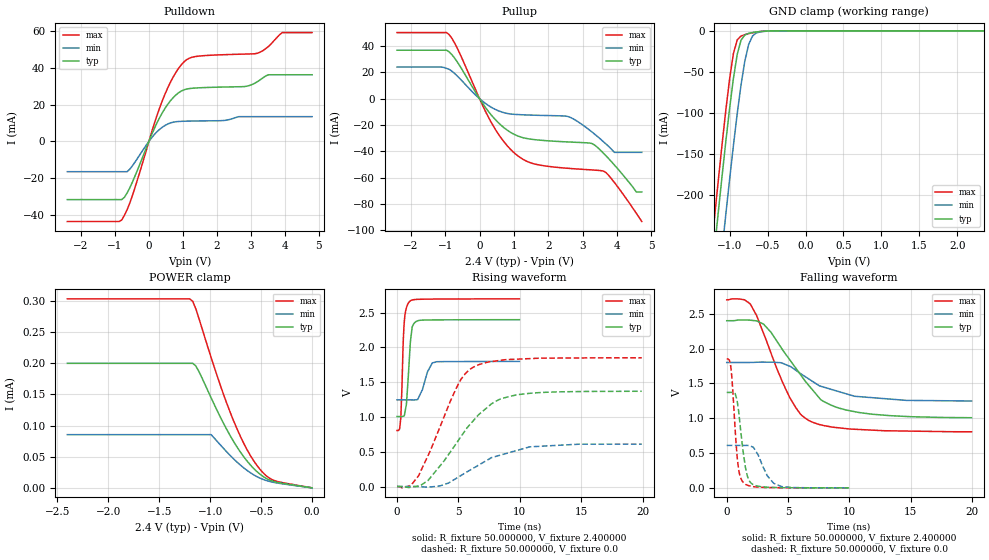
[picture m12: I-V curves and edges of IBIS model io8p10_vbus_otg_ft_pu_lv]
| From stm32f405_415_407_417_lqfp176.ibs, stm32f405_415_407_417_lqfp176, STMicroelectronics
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|   Model io8p10_vbus_otg_ft_pu_lv
[Model]  io8p10_vbus_otg_ft_pu_lv
Model_type I/O
Polarity   Non-Inverting
Enable   Active-Low
Vinl =   0.720000V
Vinh =   1.680000V
Vmeas =  1.200000V
Cref =   40.000000pF
Rref =   100.000000M
Vref =   0.0V
C_comp   3.193600pF   3.100000pF   3.332100pF
[Temperature Range]   25.000000   0.125000k   -40.000000
[Pullup Reference]   2.400000V   1.800000V   2.700000V
[Pulldown Reference]   0.0V   0.0V   0.0V
[POWER Clamp Reference]   2.400000V   1.800000V   2.700000V
[GND Clamp Reference]   0.0V   0.0V   0.0V
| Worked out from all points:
|   slope of the pulldown table from 0 to 0.36 V, typ, clamps not added: 25 ohm
|   slope of the pullup table from 0 to 0.36 V, typ, clamps not added: 27.7 ohm
|   GND clamp passes 1 mA (typ) near -0.61 V on its own axis
|   rising waveform, R_fixture 50.000000, V_fixture 2.400000: 20-80 % time 310ps typ, 633ps min, 223ps max; typ from 1.01 V to 2.4 V
|   rising waveform, R_fixture 50.000000, V_fixture 0.0: 20-80 % time 3.68ns typ, 4.27ns min, 2.69ns max; typ from 0.001 V to 1.37 V
|   falling waveform, R_fixture 50.000000, V_fixture 2.400000: 20-80 % time 3.54ns typ, 3.97ns min, 2.75ns max; typ from 2.4 V to 1.01 V
|   falling waveform, R_fixture 50.000000, V_fixture 0.0: 20-80 % time 575ps typ, 1.04ns min, 436ps max; typ from 1.37 V to 0.001 V
[Pulldown]
|Voltage   I(typ)   I(min)   I(max)
-2.4V     -31.69mA   -16.5mA    -43.66mA
-800mV    -31.69mA   -16.5mA    -42.82mA
-480mV    -21.96mA   -13.17mA   -29.19mA
80mV      3.63mA     1.966mA    5.014mA
480mV     18.16mA    8.738mA    26.02mA
800mV     25.38mA    10.72mA    37.77mA
1.12V     28.53mA    11.02mA    44.6mA
2.8V      29.84mA    13.46mA    47.53mA
3.2V      32.6mA     13.46mA    48.03mA
3.52V     36.28mA    13.46mA    51.75mA
3.92V     36.28mA    13.46mA    59.24mA
4.8V      36.28mA    13.46mA    59.24mA
[Pullup]
|Voltage   I(typ)   I(min)   I(max)
-2.4V     36.81mA    24.03mA    50.22mA
-960mV    36.81mA    23mA       50.22mA
-640mV    27.63mA    17.02mA    37.96mA
320mV     -11.75mA   -6.207mA   -17.08mA
960mV     -26.47mA   -11.82mA   -40.02mA
1.52V     -30.88mA   -12.51mA   -49.05mA
2.56V     -32.88mA   -13.49mA   -52.9mA
3.28V     -34.19mA   -25.52mA   -54.18mA
3.6V      -41.31mA   -32.62mA   -54.98mA
3.92V     -50.32mA   -40.8mA    -63.62mA
4.56V     -70.9mA    -40.8mA    -87.07mA
4.72V     -70.9mA    -40.8mA    -93.4mA
[GND_clamp]
|Voltage   I(typ)   I(min)   I(max)
-2.4V     -1.425A    -1.509A    -1.394A
-1.25V    -311.3mA   -401.9mA   -273.4mA
-1.2V     -265.5mA   -356.1mA   -227.3mA
-1.15V    -220.5mA   -310.9mA   -182mA
-1.1V     -176.4mA   -266.2mA   -138mA
-1.05V    -133.9mA   -222.5mA   -96.06mA
-950mV    -57.51mA   -139mA     -27.35mA
-900mV    -28.55mA   -100.5mA   -11.03mA
-850mV    -11.33mA   -65.67mA   -6.322mA
-750mV    -3.069mA   -16.69mA   -3.425mA
-600mV    -864.6uA   -1.294mA   -852.2uA
2.35V     0A         0A         0A
[POWER_clamp]
|Voltage   I(typ)   I(min)   I(max)
-2.4V     200uA      85.42uA    303.5uA
-1.2V     200uA      85.42uA    303.5uA
-1.17V    200uA      85.42uA    299.5uA
-1.14V    195.7uA    85.42uA    287.5uA
-990mV    144.6uA    85.42uA    209.3uA
-870mV    104.1uA    63.64uA    150.8uA
-780mV    77.28uA    48.22uA    111.8uA
-660mV    47.71uA    30.77uA    68.21uA
-570mV    30.64uA    20.64uA    42.8uA
-480mV    18.19uA    13.46uA    24.07uA
-390mV    10.91uA    9.255uA    13.01uA
0V        0A         0A         0A
[Ramp]
| variable   typ   min   max
dV/dt_r  0.82195/3.67216n   0.36569/4.26382n   1.11281/2.69174n
dV/dt_f  0.83256/3.54054n   0.33234/4.02440n   1.13575/2.74798n
R_load = 50.000000
[Rising Waveform]
R_fixture= 50.000000
V_fixture= 2.400000
V_fixture_min= 1.800000
V_fixture_max= 2.700000
|time   V(typ)   V(min)   V(max)
0s        1.007V     1.247V     805.7mV
300.3ps   1.007V     1.247V     974.6mV
520.5ps   1.013V     1.247V     2.148V
600.6ps   1.025V     1.247V     2.382V
760.8ps   1.18V      1.247V     2.568V
1.001ns   1.826V     1.247V     2.658V
1.241ns   2.3V       1.246V     2.683V
1.662ns   2.383V     1.25V      2.692V
2.883ns   2.396V     1.779V     2.696V
9.97ns    2.4V       1.8V       2.699V
[Rising Waveform]
R_fixture= 50.000000
V_fixture= 0.0
V_fixture_min= 0.0
V_fixture_max= 0.0
|time   V(typ)   V(min)   V(max)
0s        1.05mV     906.3uV    1.439mV
1.121ns   -9.416mV   968.2uV    17.09mV
1.762ns   8.574mV    -884.8uV   158.4mV
2.563ns   95.07mV    -5.947mV   460.3mV
5.045ns   677mV      141.8mV    1.492V
6.206ns   946mV      263.4mV    1.716V
7.728ns   1.193V     418.3mV    1.799V
9.69ns    1.317V     516mV      1.832V
14.81ns   1.367V     609.5mV    1.85V
19.94ns   1.371V     610.2mV    1.852V
[Falling Waveform]
R_fixture= 50.000000
V_fixture= 2.400000
V_fixture_min= 1.800000
V_fixture_max= 2.700000
|time   V(typ)   V(min)   V(max)
0s        2.4V       1.8V       2.699V
1.441ns   2.41V      1.8V       2.7V
1.922ns   2.407V     1.801V     2.64V
3.003ns   2.35V      1.805V     2.217V
5.125ns   1.841V     1.746V     1.299V
6.006ns   1.627V     1.642V     1.06V
6.687ns   1.471V     1.563V     967.9mV
7.688ns   1.263V     1.458V     903.8mV
9.77ns    1.116V     1.349V     850.2mV
19.94ns   1.007V     1.247V     805.7mV
[Falling Waveform]
R_fixture= 50.000000
V_fixture= 0.0
V_fixture_min= 0.0
V_fixture_max= 0.0
|time   V(typ)   V(min)   V(max)
0s        1.371V     610.2mV    1.852V
340.3ps   1.371V     610.2mV    1.726V
840.8ps   1.26V      610mV      466.1mV
1.061ns   952.1mV    609.7mV    186.2mV
1.381ns   465.5mV    610mV      71.93mV
1.702ns   158.6mV    610.5mV    37.53mV
2.302ns   35.97mV    546.3mV    15.49mV
3.323ns   9.552mV    169.8mV    5.369mV
4.464ns   3.586mV    18.95mV    2.839mV
9.97ns    1.05mV     906.3uV    1.439mV
